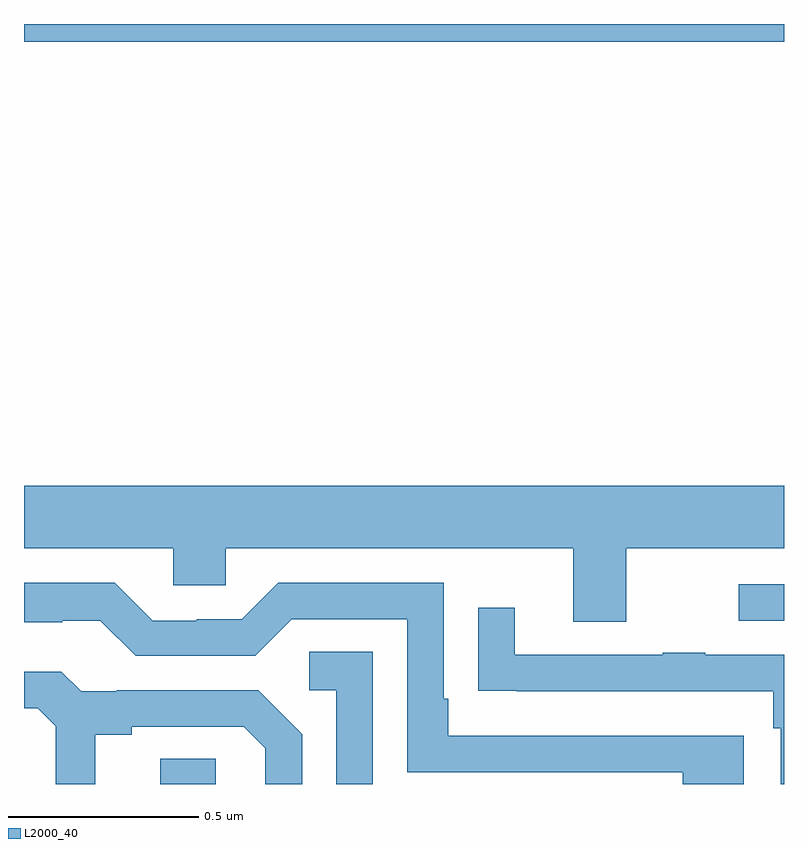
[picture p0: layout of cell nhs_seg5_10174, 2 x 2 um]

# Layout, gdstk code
import gdstk
lib = gdstk.Library(unit=1e-6, precision=1e-09)
def R(c, l, rs):  # rectangles x0, y0, x1, y1
    for r in rs: c.add(gdstk.rectangle(r[:2], r[2:], *l))
def P(c, l, *ps):  # polygons
    for p in ps: c.add(gdstk.Polygon(p, *l))
L2000_40 = (2000, 40)

nhs_seg5_10174 = lib.new_cell('nhs_seg5_10174')
R(nhs_seg5_10174, L2000_40, [(243.359,862.799,243.504,862.865), (244.881,863.229,245,863.325), (243,864.752,245,864.799)])
P(nhs_seg5_10174, L2000_40, [(244.585,863.42),(245,863.42),(245,863.584),(243,863.584),(243,863.42),(243.393,863.42),(243.393,863.322),(243.531,863.322),(243.531,863.42),(244.445,863.42),(244.445,863.226),(244.585,863.226)],
  [(244.894,862.926),(244.117,862.926),(244.117,863.023),(244.104,863.023),(244.104,863.328),(243.669,863.328),(243.573,863.232),(243.455,863.232),(243.455,863.229),(243.339,863.229),(243.239,863.329),(243,863.329),(243,863.225),(243.101,863.225),(243.101,863.229),(243.201,863.229),(243.294,863.136),(243.609,863.136),(243.705,863.232),(244.008,863.232),(244.008,862.83),(244.733,862.83),(244.733,862.799),(244.894,862.799)],
  [(245,863.139),(244.793,863.139),(244.793,863.144),(244.681,863.144),(244.681,863.139),(244.291,863.139),(244.291,863.263),(244.195,863.263),(244.195,863.044),(244.297,863.044),(244.297,863.043),(244.972,863.043),(244.972,862.946),(244.992,862.946),(244.992,862.799),(245,862.799)],
  [(243.918,863.147),(243.75,863.147),(243.75,863.046),(243.822,863.046),(243.822,862.799),(243.918,862.799)],
  [(243.187,862.928),(243.283,862.928),(243.283,862.95),(243.578,862.95),(243.635,862.893),(243.635,862.799),(243.732,862.799),(243.732,862.93),(243.616,863.046),(243.244,863.046),(243.244,863.043),(243.15,863.043),(243.098,863.095),(243,863.095),(243,862.998),(243.036,862.998),(243.083,862.951),(243.083,862.799),(243.187,862.799)])

lib.write_gds('nhs_seg5_10174.gds')
